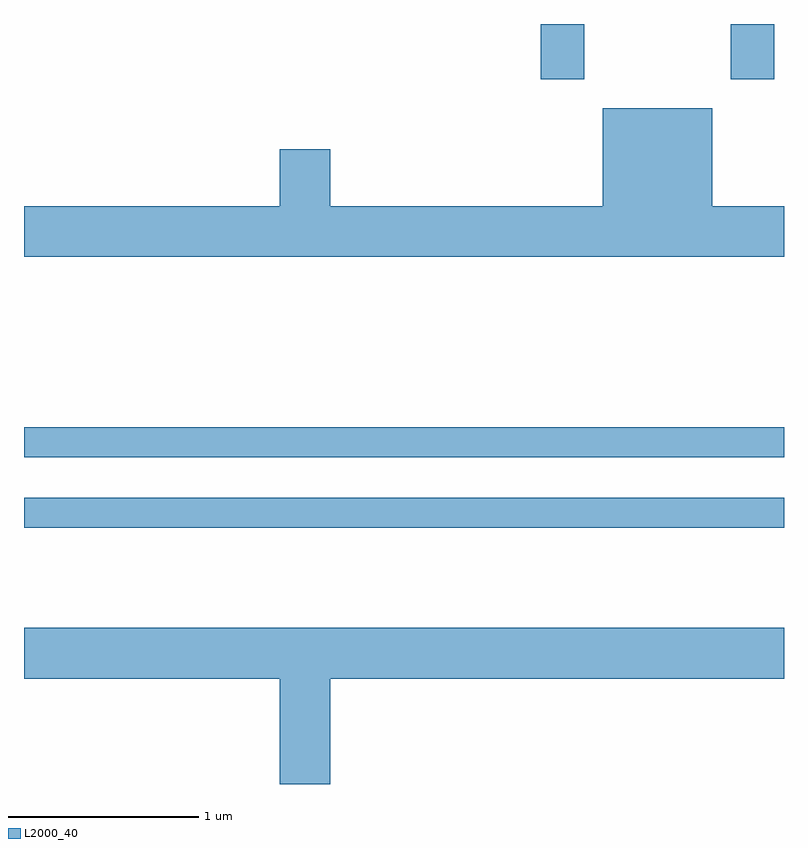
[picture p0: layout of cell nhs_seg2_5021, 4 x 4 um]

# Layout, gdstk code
import gdstk
lib = gdstk.Library(unit=1e-6, precision=1e-09)
def R(c, l, rs):  # rectangles x0, y0, x1, y1
    for r in rs: c.add(gdstk.rectangle(r[:2], r[2:], *l))
def P(c, l, *ps):  # polygons
    for p in ps: c.add(gdstk.Polygon(p, *l))
L2000_40 = (2000, 40)

nhs_seg2_5021 = lib.new_cell('nhs_seg2_5021')
R(nhs_seg2_5021, L2000_40, [(333.611,1009.151,337.611,1009.309), (333.611,1009.521,337.611,1009.679), (336.331,1011.511,336.559,1011.802), (337.331,1011.511,337.559,1011.802)])
P(nhs_seg2_5021, L2000_40, [(337.611,1010.844),(337.234,1010.844),(337.234,1011.359),(336.656,1011.359),(336.656,1010.844),(335.224,1010.844),(335.224,1011.144),(334.956,1011.144),(334.956,1010.844),(333.611,1010.844),(333.611,1010.576),(337.611,1010.576)],
  [(335.224,1008.356),(337.611,1008.356),(337.611,1008.624),(333.611,1008.624),(333.611,1008.356),(334.956,1008.356),(334.956,1007.802),(335.224,1007.802)])

lib.write_gds('nhs_seg2_5021.gds')
